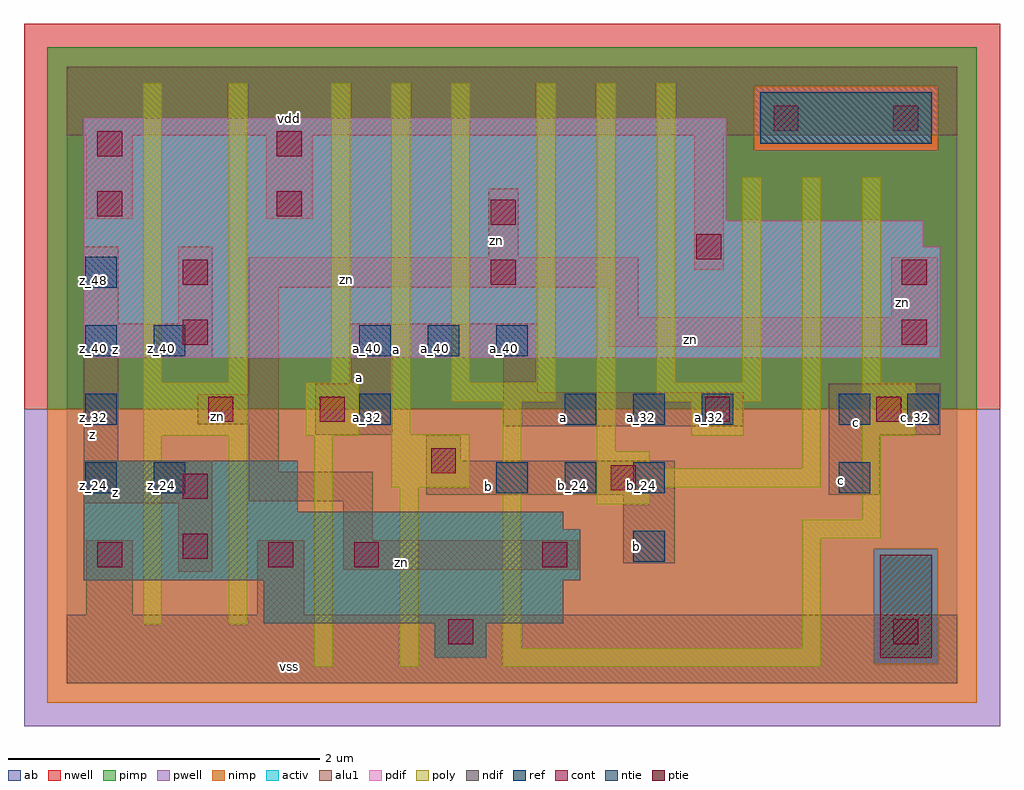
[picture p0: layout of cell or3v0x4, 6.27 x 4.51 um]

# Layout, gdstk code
import gdstk
lib = gdstk.Library(unit=1e-6, precision=2.5e-09)
def R(c, l, rs):  # rectangles x0, y0, x1, y1
    for r in rs: c.add(gdstk.rectangle(r[:2], r[2:], *l))
def A(c, l, x, y, w, h, nx, ny, dx, dy):  # array of equal rectangles
    R(c, l, [(x+i*dx, y+j*dy, x+i*dx+w, y+j*dy+h) for i in range(nx) for j in range(ny)])
ndif = (3, 0)
pdif = (4, 0)
ntie = (5, 0)
ptie = (6, 0)
ref = (24, 0)
cont = (25, 0)
pwell = (41, 0)
nwell = (42, 0)
activ = (43, 0)
pimp = (44, 0)
nimp = (45, 0)
poly = (46, 0)
alu1 = (49, 0)
ab = (63, 0)

or3v0x4 = lib.new_cell('or3v0x4')
R(or3v0x4, ndif, [(2.365,0.165,2.695,0.385), (1.265,0.385,3.19,0.66), (0.11,0.66,3.3,0.99), (0.11,0.99,3.19,1.1), (0.11,1.1,1.485,1.43)])
R(or3v0x4, pdif, [(0.11,2.09,5.61,2.805), (0.11,2.805,5.5,2.97), (0.11,2.97,4.235,3.63)])
R(or3v0x4, ntie, [(4.455,3.465,5.555,3.795)])
R(or3v0x4, ptie, [(5.225,0.165,5.555,0.825)])
A(or3v0x4, ref, 0.12, 1.22, 0.2, 0.2, 1, 4, 0, 0.44)
A(or3v0x4, ref, 2.76, 1.22, 0.2, 0.2, 3, 1, 0.44, 0)
A(or3v0x4, ref, 3.2, 1.66, 0.2, 0.2, 3, 1, 0.44, 0)
A(or3v0x4, ref, 1.88, 2.1, 0.2, 0.2, 3, 1, 0.44, 0)
R(or3v0x4, ref, [(3.64,0.78,3.84,0.98), (0.56,1.22,0.76,1.42), (4.96,1.22,5.16,1.42), (1.88,1.66,2.08,1.86), (4.96,1.66,5.16,1.86), (5.4,1.66,5.6,1.86), (0.56,2.1,0.76,2.3)])
R(or3v0x4, cont, [(2.45,0.25,2.61,0.41), (5.31,0.25,5.47,0.41), (0.195,0.745,0.355,0.905), (1.295,0.745,1.455,0.905), (1.845,0.745,2.005,0.905), (3.055,0.745,3.215,0.905), (0.745,0.8,0.905,0.96), (0.745,1.185,0.905,1.345), (3.495,1.24,3.655,1.4), (2.34,1.35,2.5,1.51), (0.91,1.68,1.07,1.84), (1.625,1.68,1.785,1.84), (4.1,1.68,4.26,1.84), (5.2,1.68,5.36,1.84), (0.745,2.175,0.905,2.335), (5.365,2.175,5.525,2.335), (0.745,2.56,0.905,2.72), (2.725,2.56,2.885,2.72), (5.365,2.56,5.525,2.72), (4.045,2.725,4.205,2.885), (2.725,2.945,2.885,3.105), (0.195,3,0.355,3.16), (1.35,3,1.51,3.16), (0.195,3.385,0.355,3.545), (1.35,3.385,1.51,3.545), (4.54,3.55,4.7,3.71), (5.31,3.55,5.47,3.71)])
R(or3v0x4, pwell, [(-0.275,-0.275,5.995,1.76)])
R(or3v0x4, nwell, [(-0.275,1.76,5.995,4.235)])
R(or3v0x4, activ, [(2.365,0.165,2.695,0.385), (5.225,0.165,5.555,0.825), (1.265,0.385,3.19,0.66), (0.11,0.66,3.3,0.99), (0.11,0.99,3.19,1.1), (0.11,1.1,1.485,1.43), (0.11,2.09,5.61,2.805), (0.11,2.805,5.5,2.97), (0.11,2.97,4.235,3.63), (4.455,3.465,5.555,3.795)])
R(or3v0x4, pimp, [(5.185,0.125,5.595,0.865), (-0.125,1.76,5.845,3.425), (-0.125,3.425,4.415,3.835), (5.595,3.425,5.845,3.835), (-0.125,3.835,5.845,4.085)])
R(or3v0x4, nimp, [(-0.125,-0.125,5.845,0.125), (-0.125,0.125,5.185,0.865), (5.595,0.125,5.845,0.865), (-0.125,0.865,5.845,1.76), (4.415,3.425,5.595,3.835)])
R(or3v0x4, poly, [(1.59,0.105,1.71,1.59), (2.14,0.105,2.26,1.26), (2.8,0.105,4.845,0.225), (2.8,0.225,2.92,1.81), (4.725,0.225,4.845,0.93), (0.49,0.38,0.61,1.59), (1.04,0.38,1.16,1.59), (4.725,0.93,5.23,1.05), (5.11,1.05,5.23,1.59), (3.405,1.15,3.745,1.26), (2.085,1.26,2.59,1.6), (3.405,1.26,4.845,1.38), (3.405,1.38,3.745,1.49), (4.725,1.38,4.845,3.25), (3.405,1.49,3.525,3.855), (0.49,1.59,1.16,1.93), (1.535,1.59,1.875,1.93), (4.01,1.59,4.35,1.81), (5.11,1.59,5.45,1.93), (2.085,1.6,2.205,3.855), (2.47,1.81,3.14,1.93), (3.79,1.81,4.46,1.93), (0.49,1.93,0.61,3.855), (1.04,1.93,1.16,3.855), (1.7,1.93,1.82,3.855), (2.47,1.93,2.59,3.855), (3.02,1.93,3.14,3.855), (3.79,1.93,3.91,3.855), (4.34,1.93,4.46,3.25), (5.11,1.93,5.23,3.25)])
R(or3v0x4, alu1, [(0,0,5.72,0.44), (0.125,0.44,0.425,0.92), (1.225,0.44,1.525,0.92), (0.715,0.715,0.935,1.155), (1.775,0.73,3.285,0.92), (3.575,0.77,3.905,1.21), (1.775,0.92,1.965,1.17), (0.11,1.155,0.935,1.43), (1.17,1.17,1.965,1.36), (2.31,1.21,3.905,1.43), (4.895,1.21,5.225,1.595), (1.17,1.36,1.36,1.665), (0.11,1.43,0.33,2.09), (2.31,1.43,2.53,1.595), (1.595,1.595,2.09,1.925), (4.895,1.595,5.61,1.925), (2.805,1.65,4.345,1.87), (0.84,1.665,1.36,1.855), (1.17,1.855,1.36,2.545), (2.805,1.87,3.025,2.09), (1.815,1.925,2.09,2.09), (0.11,2.09,0.935,2.31), (1.815,2.09,3.025,2.31), (3.48,2.16,5.595,2.35), (0.11,2.31,0.33,2.805), (0.715,2.31,0.935,2.805), (3.48,2.35,3.67,2.545), (5.295,2.35,5.595,2.735), (1.17,2.545,3.67,2.735), (4.03,2.655,4.22,3.52), (2.71,2.735,2.9,3.175), (0.125,2.985,0.425,3.52), (1.28,2.985,1.58,3.52), (0,3.52,5.72,3.96)])
R(or3v0x4, ab, [(0,0,5.72,3.96)])
or3v0x4.add(gdstk.Label('vss', (1.43,0.11), layer=49, texttype=0))
or3v0x4.add(gdstk.Label('b', (3.6575,0.88), layer=49, texttype=0))
or3v0x4.add(gdstk.Label('zn', (2.1525,0.7775), layer=49, texttype=0))
or3v0x4.add(gdstk.Label('c', (4.9775,1.305), layer=49, texttype=0))
or3v0x4.add(gdstk.Label('b', (2.7075,1.265), layer=49, texttype=0))
or3v0x4.add(gdstk.Label('c', (5.0725,1.6775), layer=49, texttype=0))
or3v0x4.add(gdstk.Label('a', (3.19,1.705), layer=49, texttype=0))
or3v0x4.add(gdstk.Label('z', (0.315,1.2225), layer=49, texttype=0))
or3v0x4.add(gdstk.Label('zn', (0.97,1.7125), layer=49, texttype=0))
or3v0x4.add(gdstk.Label('a', (1.8825,1.965), layer=49, texttype=0))
or3v0x4.add(gdstk.Label('zn', (4.0075,2.2075), layer=49, texttype=0))
or3v0x4.add(gdstk.Label('a', (2.1175,2.145), layer=49, texttype=0))
or3v0x4.add(gdstk.Label('zn', (5.37,2.445), layer=49, texttype=0))
or3v0x4.add(gdstk.Label('z', (0.165,1.595), layer=49, texttype=0))
or3v0x4.add(gdstk.Label('zn', (1.795,2.5925), layer=49, texttype=0))
or3v0x4.add(gdstk.Label('z', (0.315,2.145), layer=49, texttype=0))
or3v0x4.add(gdstk.Label('zn', (2.7575,2.845), layer=49, texttype=0))
or3v0x4.add(gdstk.Label('vdd', (1.43,3.63), layer=49, texttype=0))
or3v0x4.add(gdstk.Label('c_32', (5.45,1.71), layer=24, texttype=0))
or3v0x4.add(gdstk.Label('z_24', (0.61,1.27), layer=24, texttype=0))
or3v0x4.add(gdstk.Label('z_40', (0.61,2.15), layer=24, texttype=0))
or3v0x4.add(gdstk.Label('a_32', (1.93,1.71), layer=24, texttype=0))
or3v0x4.add(gdstk.Label('a_40', (1.93,2.15), layer=24, texttype=0))
or3v0x4.add(gdstk.Label('z_24', (0.17,1.27), layer=24, texttype=0))
or3v0x4.add(gdstk.Label('z_32', (0.17,1.71), layer=24, texttype=0))
or3v0x4.add(gdstk.Label('z_40', (0.17,2.15), layer=24, texttype=0))
or3v0x4.add(gdstk.Label('z_48', (0.17,2.59), layer=24, texttype=0))
or3v0x4.add(gdstk.Label('a_40', (2.37,2.15), layer=24, texttype=0))
or3v0x4.add(gdstk.Label('b_24', (2.81,1.27), layer=24, texttype=0))
or3v0x4.add(gdstk.Label('a_40', (2.81,2.15), layer=24, texttype=0))
or3v0x4.add(gdstk.Label('b_24', (3.25,1.27), layer=24, texttype=0))
or3v0x4.add(gdstk.Label('a_32', (3.25,1.71), layer=24, texttype=0))
or3v0x4.add(gdstk.Label('b_16', (3.69,0.83), layer=24, texttype=0))
or3v0x4.add(gdstk.Label('b_24', (3.69,1.27), layer=24, texttype=0))
or3v0x4.add(gdstk.Label('a_32', (3.69,1.71), layer=24, texttype=0))
or3v0x4.add(gdstk.Label('a_32', (4.13,1.71), layer=24, texttype=0))
or3v0x4.add(gdstk.Label('c_24', (5.01,1.27), layer=24, texttype=0))
or3v0x4.add(gdstk.Label('c_32', (5.01,1.71), layer=24, texttype=0))

lib.write_gds('or3v0x4.gds')
